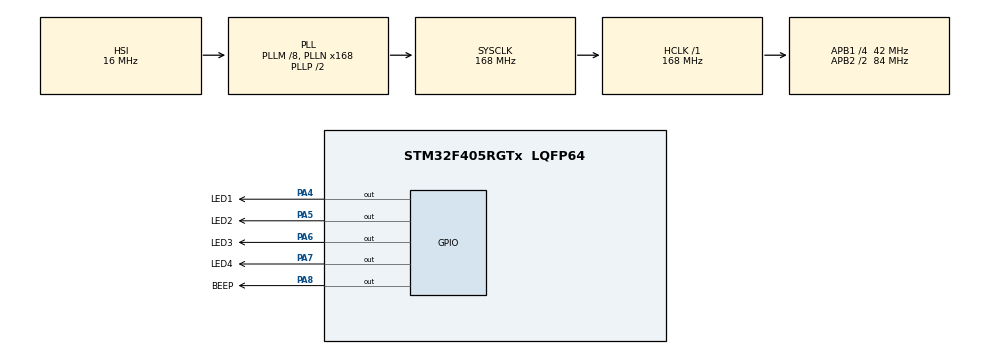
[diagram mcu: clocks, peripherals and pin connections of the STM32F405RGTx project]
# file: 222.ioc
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Mcu.Family=STM32F4
Mcu.Name=STM32F405RGTx
Mcu.Package=LQFP64
NVIC.PriorityGroup=NVIC_PRIORITYGROUP_4
PA4.GPIO_Label=LED1
PA4.GPIO_Speed=GPIO_SPEED_FREQ_HIGH
PA4.Signal=GPIO_Output
PA5.GPIO_Label=LED2
PA5.Signal=GPIO_Output
PA6.GPIO_Label=LED3
PA6.Signal=GPIO_Output
PA7.GPIO_Label=LED4
PA7.Signal=GPIO_Output
PA8.GPIO_Label=BEEP
PA8.Signal=GPIO_Output
PH0-OSC_IN.Mode=HSE-External-Oscillator
PH0-OSC_IN.Signal=RCC_OSC_IN
PH1-OSC_OUT.Mode=HSE-External-Oscillator
PH1-OSC_OUT.Signal=RCC_OSC_OUT
ProjectManager.HeapSize=0x200
ProjectManager.StackSize=0x400
ProjectManager.TargetToolchain=MDK-ARM V5.32
RCC.48MHZClocksFreq_Value=84000000
RCC.AHBFreq_Value=168000000
RCC.APB1CLKDivider=RCC_HCLK_DIV4
RCC.APB1Freq_Value=42000000
RCC.APB1TimFreq_Value=84000000
RCC.APB2CLKDivider=RCC_HCLK_DIV2
RCC.APB2Freq_Value=84000000
RCC.APB2TimFreq_Value=168000000
RCC.CortexFreq_Value=168000000
RCC.HCLKFreq_Value=168000000
RCC.HSE_VALUE=25000000
RCC.HSI_VALUE=16000000
RCC.LSE_VALUE=32768
RCC.PLLM=8
RCC.PLLN=168
RCC.SYSCLKFreq_VALUE=168000000
RCC.SYSCLKSource=RCC_SYSCLKSOURCE_PLLCLK
RCC.VCOOutputFreq_Value=336000000
board=custom

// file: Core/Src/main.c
/* USER CODE BEGIN Header */
/**
  ******************************************************************************
  * @file           : main.c
  * @brief          : Main program body
  ******************************************************************************
  * @attention
  *
  * Copyright (c) 2025 STMicroelectronics.
  * All rights reserved.
  *
  * This software is licensed under terms that can be found in the LICENSE file
  * in the root directory of this software component.
  * If no LICENSE file comes with this software, it is provided AS-IS.
  *
  ******************************************************************************
  */
/* USER CODE END Header */
#include "main.h"
#include "gpio.h"

/* USER CODE BEGIN Includes */
#include <stdio.h>
#include "EventRecorder.h"
/* USER CODE END Includes */

void SystemClock_Config(void);

/* USER CODE BEGIN 0 */
int step = 0;
/* USER CODE END 0 */

int main(void)
{

  /* USER CODE BEGIN 1 */
	EventRecorderInitialize(EventRecordAll, 1U);
	EventRecorderStart();
  /* USER CODE END 1 */

  /* MCU Configuration--------------------------------------------------------*/

  /* Reset of all peripherals, Initializes the Flash interface and the Systick. */
  HAL_Init();

  /* Configure the system clock */
  SystemClock_Config();

  /* Initialize all configured peripherals */
  MX_GPIO_Init();
  /* USER CODE BEGIN 2 */
	BEEP_Setup();
  /* USER CODE END 2 */

  /* Infinite loop */
  /* USER CODE BEGIN WHILE */
  while (1)
  {
		EventStartA(0);
		LED1_ON;
		LED4_OFF;
		HAL_Delay(80);
		LED2_ON;
		LED1_OFF;
		HAL_Delay(80);
		LED3_ON;
		LED2_OFF;
		HAL_Delay(80);
		LED4_ON;
		LED3_OFF;
		HAL_Delay(50);

		if(step) {
			printf("%d\n",step);
			BEEP_ON;
			HAL_Delay(20);
			BEEP_OFF;
		}
		if(step) step--;
		EventStopA(0);
    /* USER CODE END WHILE */

  }
}

void SystemClock_Config(void)
{
  RCC_OscInitTypeDef RCC_OscInitStruct = {0};
  RCC_ClkInitTypeDef RCC_ClkInitStruct = {0};

  /** Configure the main internal regulator output voltage
  */
  __HAL_RCC_PWR_CLK_ENABLE();
  __HAL_PWR_VOLTAGESCALING_CONFIG(PWR_REGULATOR_VOLTAGE_SCALE1);

  /** Initializes the RCC Oscillators according to the specified parameters
  * in the RCC_OscInitTypeDef structure.
  */
  RCC_OscInitStruct.OscillatorType = RCC_OSCILLATORTYPE_HSI;
  RCC_OscInitStruct.HSIState = RCC_HSI_ON;
  RCC_OscInitStruct.HSICalibrationValue = RCC_HSICALIBRATION_DEFAULT;
  RCC_OscInitStruct.PLL.PLLState = RCC_PLL_ON;
  RCC_OscInitStruct.PLL.PLLSource = RCC_PLLSOURCE_HSI;
  RCC_OscInitStruct.PLL.PLLM = 8;
  RCC_OscInitStruct.PLL.PLLN = 168;
  RCC_OscInitStruct.PLL.PLLP = RCC_PLLP_DIV2;
  RCC_OscInitStruct.PLL.PLLQ = 4;
  if (HAL_RCC_OscConfig(&RCC_OscInitStruct) != HAL_OK)
  {
    Error_Handler();
  }

  /** Initializes the CPU, AHB and APB buses clocks
  */
  RCC_ClkInitStruct.ClockType = RCC_CLOCKTYPE_HCLK|RCC_CLOCKTYPE_SYSCLK
                              |RCC_CLOCKTYPE_PCLK1|RCC_CLOCKTYPE_PCLK2;
  RCC_ClkInitStruct.SYSCLKSource = RCC_SYSCLKSOURCE_PLLCLK;
  RCC_ClkInitStruct.AHBCLKDivider = RCC_SYSCLK_DIV1;
  RCC_ClkInitStruct.APB1CLKDivider = RCC_HCLK_DIV4;
  RCC_ClkInitStruct.APB2CLKDivider = RCC_HCLK_DIV2;

  if (HAL_RCC_ClockConfig(&RCC_ClkInitStruct, FLASH_LATENCY_5) != HAL_OK)
  {
    Error_Handler();
  }
}

void Error_Handler(void)
{
  __disable_irq();
  while (1)
  {
  }
}
